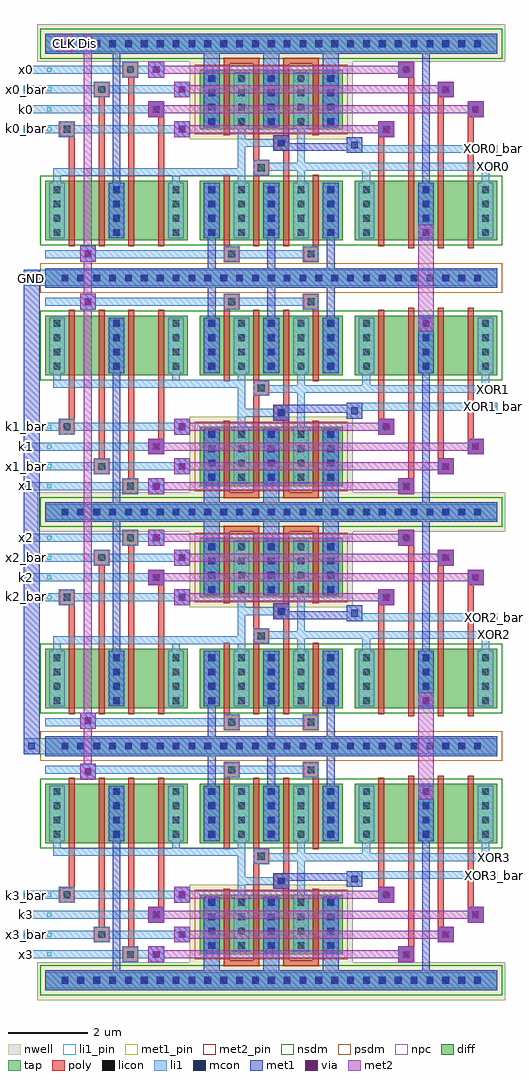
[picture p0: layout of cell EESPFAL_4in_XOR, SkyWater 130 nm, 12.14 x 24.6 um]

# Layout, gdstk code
import gdstk
lib = gdstk.Library(unit=1e-6, precision=1e-09)
def R(c, l, rs):  # rectangles x0, y0, x1, y1
    for r in rs: c.add(gdstk.rectangle(r[:2], r[2:], *l))
def A(c, l, x, y, w, h, nx, ny, dx, dy):  # array of equal rectangles
    R(c, l, [(x+i*dx, y+j*dy, x+i*dx+w, y+j*dy+h) for i in range(nx) for j in range(ny)])
nwell = (64, 20)
diff = (65, 20)
tap = (65, 44)
poly = (66, 20)
licon = (66, 44)
li1_pin = (67, 16)
li1 = (67, 20)
mcon = (67, 44)
met1_pin = (68, 16)
met1 = (68, 20)
via = (68, 44)
met2_pin = (69, 16)
met2 = (69, 20)
nsdm = (93, 44)
psdm = (94, 20)
npc = (95, 20)

eespfal_xor_v3 = lib.new_cell('EESPFAL_XOR_v3')
R(eespfal_xor_v3, nwell, [(-2.8,4.6,1.3,6.55), (-6.65,6.55,5.15,7.5)])
A(eespfal_xor_v3, diff, -6.45, 2.05, 3.6, 1.5, 3, 1, 3.9, 0)
R(eespfal_xor_v3, diff, [(-2.55,4.85,1.05,6.35)])
R(eespfal_xor_v3, tap, [(-6.45,0.85,4.95,1.35), (-6.45,6.75,4.95,7.25)])
R(eespfal_xor_v3, poly, [(-1.95,1.5,-1.55,1.9), (0.05,1.5,0.45,1.9), (2.7,1.85,2.85,6.15), (3.45,1.85,3.6,5.65), (4.2,1.85,4.35,5.15), (-5.85,1.9,-5.7,4.65), (-5.1,1.9,-4.95,5.65), (-4.35,1.9,-4.2,6.15), (-3.6,1.9,-3.45,5.15), (-1.95,1.9,-1.8,3.7), (-1.2,1.9,-1.05,3.675), (-0.45,1.9,-0.3,4.3), (0.3,1.9,0.45,3.7), (1.95,1.9,2.1,4.65), (-1.2,3.675,-0.8,4.075), (-1.2,4.075,-1.05,6.5), (-0.7,4.3,-0.3,4.7), (-6.1,4.65,-5.7,5.05), (1.95,4.65,2.35,5.05), (-1.95,4.7,-1.8,6.5), (-0.45,4.7,-0.3,6.5), (0.3,4.7,0.45,6.5), (-3.85,5.15,-3.45,5.55), (4.2,5.15,4.6,5.55), (-5.225,5.65,-4.825,6.05), (3.45,5.65,3.85,6.05), (-4.5,6.15,-4.1,6.55), (2.45,6.15,2.85,6.55), (-1.95,6.5,-1.05,6.65), (-0.45,6.5,0.45,6.65)])
A(eespfal_xor_v3, licon, -6.035, 1.015, 0.17, 0.17, 27, 2, 0.4, 5.9)
A(eespfal_xor_v3, licon, -6.235, 2.16, 0.17, 0.17, 3, 4, 1.5, 0.36)
A(eespfal_xor_v3, licon, -2.335, 2.16, 0.17, 0.17, 5, 4, 0.75, 0.36)
A(eespfal_xor_v3, licon, 1.565, 2.16, 0.17, 0.17, 3, 4, 1.5, 0.36)
A(eespfal_xor_v3, licon, -2.335, 4.96, 0.17, 0.17, 5, 4, 0.75, 0.36)
R(eespfal_xor_v3, licon, [(-1.835,1.615,-1.665,1.785), (0.165,1.615,0.335,1.785), (-1.085,3.79,-0.915,3.96), (-0.585,4.415,-0.415,4.585), (-5.985,4.765,-5.815,4.935), (2.065,4.765,2.235,4.935), (-3.735,5.265,-3.565,5.435), (4.315,5.265,4.485,5.435), (-5.11,5.765,-4.94,5.935), (3.565,5.765,3.735,5.935), (-4.385,6.265,-4.215,6.435), (2.565,6.265,2.735,6.435)])
A(eespfal_xor_v3, li1_pin, -6.4, 4.8, 0.1, 0.1, 1, 4, 0, 0.5)
R(eespfal_xor_v3, li1_pin, [(-1.85,1.6,-1.65,1.8), (-1.1,3.775,-0.9,3.975)])
A(eespfal_xor_v3, li1, -6.35, 2.1, 0.4, 1.4, 3, 1, 1.5, 0)
A(eespfal_xor_v3, li1, -2.45, 2.1, 0.4, 1.4, 5, 1, 0.75, 0)
A(eespfal_xor_v3, li1, 1.45, 2.1, 0.4, 1.4, 3, 1, 1.5, 0)
A(eespfal_xor_v3, li1, -2.45, 4.9, 0.4, 1.4, 3, 1, 1.5, 0)
R(eespfal_xor_v3, li1, [(-6.45,0.9,4.95,1.3), (-1.95,1.5,-1.55,1.6), (0.05,1.5,0.45,1.6), (-6.45,1.6,0.45,1.8), (-1.95,1.8,-1.55,1.9), (0.05,1.8,0.45,1.9), (-0.1,3.35,0.1,3.8), (1.55,3.35,1.75,3.8), (4.55,3.35,4.75,3.8), (-3.25,3.38,-3.05,3.67), (-1.6,3.38,-1.4,3.67), (-6.25,3.67,-1.4,3.87), (-1.2,3.675,-0.8,3.8), (-1.6,3.75,-1.4,4.4), (-1.2,3.8,4.95,4), (-1.2,4,-0.8,4.075), (-0.1,4,0.1,4.85), (1.15,4.25,4.95,4.45), (-0.7,4.3,-0.3,4.4), (-1.6,4.4,-0.3,4.6), (1.15,4.45,1.55,4.65), (-1.6,4.6,-1.4,4.85), (-0.7,4.6,-0.3,4.7), (-6.1,4.65,-5.7,4.75), (-3.2,4.65,-2.8,4.75), (1.95,4.65,2.35,5.05), (-6.45,4.75,-2.8,4.95), (-1.7,4.85,-1.3,6.3), (-0.2,4.85,0.2,6.3), (-6.1,4.95,-5.7,5.05), (-3.2,4.95,-2.8,5.05), (-3.85,5.15,-3.45,5.25), (4.2,5.15,4.6,5.55), (-6.45,5.25,-3.45,5.45), (-3.85,5.45,-3.45,5.55), (-5.225,5.65,-4.825,5.75), (-3.2,5.65,-2.8,5.75), (3.45,5.65,3.85,6.05), (-6.45,5.75,-2.8,5.95), (-5.225,5.95,-4.825,6.05), (-3.2,5.95,-2.8,6.05), (-4.5,6.15,-4.1,6.25), (-3.85,6.15,-3.45,6.25), (2.45,6.15,2.85,6.55), (-6.45,6.25,-3.45,6.45), (-4.5,6.45,-4.1,6.55), (-3.85,6.45,-3.45,6.55), (-6.45,6.8,4.95,7.2)])
A(eespfal_xor_v3, mcon, -6.035, 1.015, 0.17, 0.17, 27, 2, 0.4, 5.9)
A(eespfal_xor_v3, mcon, -4.735, 2.16, 0.17, 0.17, 1, 4, 0, 0.36)
A(eespfal_xor_v3, mcon, -2.335, 2.16, 0.17, 0.17, 3, 4, 1.5, 0.36)
A(eespfal_xor_v3, mcon, 3.065, 2.16, 0.17, 0.17, 1, 4, 0, 0.36)
A(eespfal_xor_v3, mcon, -2.335, 4.96, 0.17, 0.17, 3, 4, 1.5, 0.36)
R(eespfal_xor_v3, mcon, [(1.265,4.365,1.435,4.535), (-0.585,4.415,-0.415,4.585), (-3.085,4.765,-2.915,4.935), (2.065,4.765,2.235,4.935), (-3.735,5.265,-3.565,5.435), (4.315,5.265,4.485,5.435), (-3.085,5.765,-2.915,5.935), (3.565,5.765,3.735,5.935), (-3.735,6.265,-3.565,6.435), (2.565,6.265,2.735,6.435)])
R(eespfal_xor_v3, met1_pin, [(-0.85,1,-0.65,1.2), (-0.6,4.4,-0.4,4.6), (-0.85,6.9,-0.65,7.1)])
A(eespfal_xor_v3, met1, -2.35, 1.35, 0.2, 0.75, 3, 1, 1.5, 0)
A(eespfal_xor_v3, met1, -2.45, 2.1, 0.4, 1.4, 3, 1, 1.5, 0)
A(eespfal_xor_v3, met1, -2.45, 4.9, 0.4, 1.85, 3, 1, 1.5, 0)
R(eespfal_xor_v3, met1, [(-6.45,0.85,4.95,1.35), (-4.85,2.1,-4.45,3.5), (2.95,2.1,3.35,3.5), (3.05,3.35,3.25,6.75), (-4.75,3.41,-4.55,6.75), (1.15,4.25,1.55,4.3), (-0.7,4.3,1.55,4.5), (-0.7,4.5,-0.3,4.7), (1.15,4.5,1.55,4.65), (-3.2,4.65,-2.8,5.05), (1.95,4.65,2.35,5.05), (-3.85,5.15,-3.45,5.55), (4.2,5.15,4.6,5.55), (-3.2,5.65,-2.8,6.05), (3.45,5.65,3.85,6.05), (-3.85,6.15,-3.45,6.55), (2.45,6.15,2.85,6.55), (-6.45,6.75,4.95,7.25)])
R(eespfal_xor_v3, via, [(-3.075,4.775,-2.925,4.925), (2.075,4.775,2.225,4.925), (-3.725,5.275,-3.575,5.425), (4.325,5.275,4.475,5.425), (-3.075,5.775,-2.925,5.925), (3.575,5.775,3.725,5.925), (-3.725,6.275,-3.575,6.425), (2.575,6.275,2.725,6.425)])
R(eespfal_xor_v3, met2, [(-3.2,4.65,-2.8,4.75), (1.95,4.65,2.35,4.75), (-3.2,4.75,2.35,4.95), (-3.2,4.95,-2.8,5.05), (1.95,4.95,2.35,5.05), (-3.85,5.15,-3.45,5.25), (4.2,5.15,4.6,5.25), (-3.85,5.25,4.6,5.45), (-3.85,5.45,-3.45,5.55), (4.2,5.45,4.6,5.55), (-3.2,5.65,-2.8,5.75), (3.45,5.65,3.85,5.75), (-3.2,5.75,3.85,5.95), (-3.2,5.95,-2.8,6.05), (3.45,5.95,3.85,6.05), (-3.85,6.15,-3.45,6.25), (2.45,6.15,2.85,6.25), (-3.85,6.25,2.85,6.45), (-3.85,6.45,-3.45,6.55), (2.45,6.45,2.85,6.55)])
R(eespfal_xor_v3, nsdm, [(-6.575,1.925,5.075,3.675), (-6.575,6.625,5.075,7.375)])
R(eespfal_xor_v3, psdm, [(-6.575,0.725,5.075,1.475), (-2.675,4.725,1.175,6.475)])
R(eespfal_xor_v3, npc, [(-1.935,1.515,-1.565,1.885), (0.065,1.515,0.435,1.885), (-1.185,3.69,-0.815,4.05), (-1.185,4.05,-0.815,4.06), (-0.685,4.315,-0.315,4.325), (-0.685,4.325,-0.315,4.685), (-6.085,4.665,-5.715,5.035), (1.965,4.665,2.335,5.035), (-3.835,5.165,-3.465,5.535), (4.215,5.165,4.585,5.535), (-5.21,5.665,-4.84,5.765), (3.465,5.665,3.835,6.035), (-5.21,5.765,-4.84,6.035), (-4.485,6.165,-4.115,6.435), (2.465,6.165,2.835,6.535), (-4.485,6.435,-4.115,6.535)])
eespfal_xor_v3.add(gdstk.FlexPath([(-6.15,3.41),(-6.15,3.67)], 0.2, ends="flush", simple_path=True, layer=67, datatype=20))  # li1
eespfal_xor_v3.add(gdstk.Label('OUT_bar', (-0.5,4.5), layer=68, texttype=16))
eespfal_xor_v3.add(gdstk.Label('GND!', (-0.75,1.1), layer=68, texttype=16))
eespfal_xor_v3.add(gdstk.Label('CLK', (-0.75,7), layer=68, texttype=16))
eespfal_xor_v3.add(gdstk.Label('OUT', (-1,3.875), layer=67, texttype=16))
eespfal_xor_v3.add(gdstk.Label('A', (-6.35,6.35), layer=67, texttype=16))
eespfal_xor_v3.add(gdstk.Label('A_bar', (-6.35,5.85), layer=67, texttype=16))
eespfal_xor_v3.add(gdstk.Label('B', (-6.35,5.35), layer=67, texttype=16))
eespfal_xor_v3.add(gdstk.Label('B_bar', (-6.35,4.85), layer=67, texttype=16))
eespfal_xor_v3.add(gdstk.Label('Dis', (-1.75,1.7), layer=67, texttype=16))

li_via_m1 = lib.new_cell('Li_via_M1')
R(li_via_m1, li1, [(-0.2,-0.19,0.2,0.21)])
R(li_via_m1, mcon, [(-0.085,-0.075,0.085,0.095)])
R(li_via_m1, met1, [(-0.2,-0.19,0.2,0.21)])

li_via_m2 = lib.new_cell('Li_via_M2')
R(li_via_m2, li1, [(-0.2,-0.19,0.2,0.21)])
R(li_via_m2, mcon, [(-0.085,-0.075,0.085,0.095)])
R(li_via_m2, met1, [(-0.2,-0.19,0.2,0.21)])
R(li_via_m2, via, [(-0.075,-0.065,0.075,0.085)])
R(li_via_m2, met2, [(-0.2,-0.19,0.2,0.21)])

m1_via_m2 = lib.new_cell('M1_via_M2')
R(m1_via_m2, met1, [(-0.2,-0.19,0.2,0.21)])
R(m1_via_m2, via, [(-0.075,-0.065,0.075,0.085)])
R(m1_via_m2, met2, [(-0.2,-0.19,0.2,0.21)])

eespfal_4in_xor = lib.new_cell('EESPFAL_4in_XOR')
R(eespfal_4in_xor, li1_pin, [(-6.96,-16,-6.86,-15.9), (-6.96,-15.505,-6.86,-15.405), (-6.96,-15,-6.86,-14.9), (-6.96,-14.505,-6.86,-14.405), (4.82,-14,4.92,-13.9), (4.82,-13.55,4.92,-13.45), (4.815,-7.95,4.915,-7.85), (4.815,-7.5,4.915,-7.4), (-6.965,-6.99,-6.865,-6.89), (-6.965,-6.495,-6.865,-6.395), (-6.965,-5.99,-6.865,-5.89), (-6.965,-5.495,-6.865,-5.395), (-6.965,-4.19,-6.865,-4.09), (-6.965,-3.695,-6.865,-3.595), (-6.965,-3.19,-6.865,-3.09), (-6.965,-2.695,-6.865,-2.595), (4.805,-2.2,4.905,-2.1), (4.805,-1.75,4.905,-1.65), (4.8,3.85,4.9,3.95), (4.8,4.3,4.9,4.4), (-6.965,4.805,-6.865,4.905), (-6.965,5.3,-6.865,5.4), (-6.965,5.805,-6.865,5.905), (-6.965,6.3,-6.865,6.4)])
A(eespfal_4in_xor, li1, -6.99, -16.05, 0.54, 0.2, 1, 4, 0, 0.5)
A(eespfal_4in_xor, li1, -6.99, -7.05, 0.54, 0.2, 1, 4, 0, 0.5)
A(eespfal_4in_xor, li1, -6.99, -4.25, 0.54, 0.2, 1, 4, 0, 0.5)
A(eespfal_4in_xor, li1, -6.99, 4.75, 0.54, 0.2, 1, 4, 0, 0.5)
R(eespfal_4in_xor, li1, [(4.82,-14,4.92,-13.9), (4.82,-13.55,4.92,-13.45), (-6.59,-10.9,-6.45,-10.5), (4.815,-7.95,4.915,-7.85), (4.815,-7.5,4.915,-7.4), (4.805,-2.2,4.905,-2.1), (4.805,-1.75,4.905,-1.65), (-6.59,0.9,-6.45,1.3), (4.8,3.85,4.9,3.95), (4.8,4.3,4.9,4.4)])
R(eespfal_4in_xor, met1_pin, [(-6.86,1.03,-6.72,1.165)])
R(eespfal_4in_xor, met1, [(-6.99,-10.5,-6.59,0.9), (-6.86,1.03,-6.72,1.165)])
R(eespfal_4in_xor, met2_pin, [(-5.445,6.92,-5.295,7.08), (-6.02,6.93,-5.88,7.07)])
R(eespfal_4in_xor, met2, [(2.95,-11.7,3.35,-9.7), (-5.47,-11.15,-5.27,7.2), (2.95,0.1,3.35,2.1), (-6.02,6.93,-5.88,7.07)])
eespfal_4in_xor.add(gdstk.Reference(eespfal_xor_v3, (0,-9.6), x_reflection=True))
eespfal_4in_xor.add(gdstk.Reference(eespfal_xor_v3, (0,-11.8)))
eespfal_4in_xor.add(gdstk.Reference(li_via_m1, (-6.79,-10.71)))
eespfal_4in_xor.add(gdstk.Reference(li_via_m2, (-5.37,-11.36)))
eespfal_4in_xor.add(gdstk.Reference(m1_via_m2, (3.15,-11.855)))
eespfal_4in_xor.add(gdstk.Reference(eespfal_xor_v3, (0,2.2), x_reflection=True))
eespfal_4in_xor.add(gdstk.Reference(li_via_m2, (-5.37,-10.07)))
eespfal_4in_xor.add(gdstk.Reference(m1_via_m2, (3.15,-9.565)))
eespfal_4in_xor.add(gdstk.Reference(eespfal_xor_v3, (0,0)))
eespfal_4in_xor.add(gdstk.Reference(li_via_m1, (-6.79,1.09)))
eespfal_4in_xor.add(gdstk.Reference(li_via_m2, (-5.37,1.7)))
eespfal_4in_xor.add(gdstk.Reference(li_via_m2, (-5.37,0.49)))
eespfal_4in_xor.add(gdstk.Reference(m1_via_m2, (3.15,2.235)))
eespfal_4in_xor.add(gdstk.Reference(m1_via_m2, (3.15,-0.055)))
eespfal_4in_xor.add(gdstk.Reference(m1_via_m2, (-5.95,6.99)))
eespfal_4in_xor.add(gdstk.Label('GND', (-6.79,1.097), layer=68, texttype=16))
eespfal_4in_xor.add(gdstk.Label('x0', (-6.915,6.35), layer=67, texttype=16))
eespfal_4in_xor.add(gdstk.Label('x0_bar', (-6.915,5.855), layer=67, texttype=16))
eespfal_4in_xor.add(gdstk.Label('k0', (-6.915,5.35), layer=67, texttype=16))
eespfal_4in_xor.add(gdstk.Label('k0_bar', (-6.915,4.855), layer=67, texttype=16))
eespfal_4in_xor.add(gdstk.Label('x1', (-6.915,-4.14), layer=67, texttype=16))
eespfal_4in_xor.add(gdstk.Label('x1_bar', (-6.915,-3.645), layer=67, texttype=16))
eespfal_4in_xor.add(gdstk.Label('k1', (-6.915,-3.14), layer=67, texttype=16))
eespfal_4in_xor.add(gdstk.Label('k1_bar', (-6.915,-2.645), layer=67, texttype=16))
eespfal_4in_xor.add(gdstk.Label('x2', (-6.915,-5.445), layer=67, texttype=16))
eespfal_4in_xor.add(gdstk.Label('x2_bar', (-6.915,-5.94), layer=67, texttype=16))
eespfal_4in_xor.add(gdstk.Label('k2', (-6.915,-6.445), layer=67, texttype=16))
eespfal_4in_xor.add(gdstk.Label('k2_bar', (-6.915,-6.94), layer=67, texttype=16))
eespfal_4in_xor.add(gdstk.Label('x3', (-6.91,-15.95), layer=67, texttype=16))
eespfal_4in_xor.add(gdstk.Label('x3_bar', (-6.91,-15.455), layer=67, texttype=16))
eespfal_4in_xor.add(gdstk.Label('k3', (-6.91,-14.95), layer=67, texttype=16))
eespfal_4in_xor.add(gdstk.Label('k3_bar', (-6.91,-14.455), layer=67, texttype=16))
eespfal_4in_xor.add(gdstk.Label('XOR0_bar', (4.85,4.35), layer=67, texttype=16))
eespfal_4in_xor.add(gdstk.Label('XOR0', (4.85,3.9), layer=67, texttype=16))
eespfal_4in_xor.add(gdstk.Label('XOR1_bar', (4.855,-2.15), layer=67, texttype=16))
eespfal_4in_xor.add(gdstk.Label('XOR1', (4.855,-1.7), layer=67, texttype=16))
eespfal_4in_xor.add(gdstk.Label('XOR2_bar', (4.865,-7.45), layer=67, texttype=16))
eespfal_4in_xor.add(gdstk.Label('XOR2', (4.865,-7.9), layer=67, texttype=16))
eespfal_4in_xor.add(gdstk.Label('XOR3_bar', (4.87,-13.95), layer=67, texttype=16))
eespfal_4in_xor.add(gdstk.Label('XOR3', (4.87,-13.5), layer=67, texttype=16))
eespfal_4in_xor.add(gdstk.Label('CLK', (-5.95,7), layer=69, texttype=16))
eespfal_4in_xor.add(gdstk.Label('Dis', (-5.37,7), layer=69, texttype=16))

lib.write_gds('EESPFAL_4in_XOR.gds')
